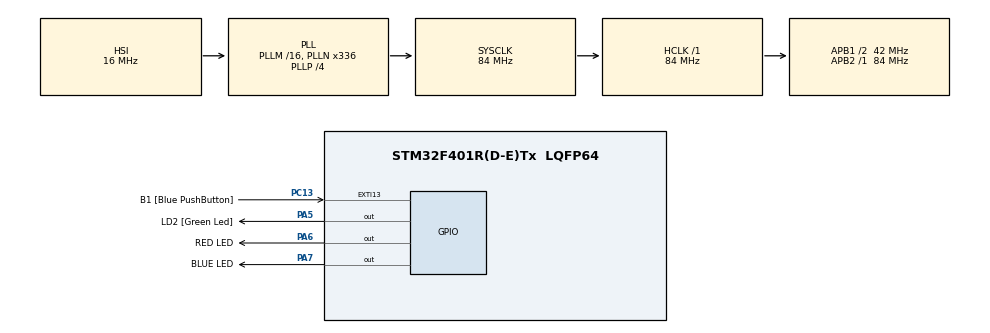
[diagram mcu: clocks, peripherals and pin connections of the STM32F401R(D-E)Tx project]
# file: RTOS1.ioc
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Mcu.Family=STM32F4
Mcu.Name=STM32F401R(D-E)Tx
Mcu.Package=LQFP64
NVIC.PriorityGroup=NVIC_PRIORITYGROUP_4
NVIC.TIM5_IRQn=true\:0\:0\:false\:false\:true\:false\:true\:true
NVIC.TimeBase=TIM5_IRQn
NVIC.TimeBaseIP=TIM5
PA13.GPIO_Label=TMS
PA13.Signal=SYS_JTMS-SWDIO
PA14.GPIO_Label=TCK
PA14.Signal=SYS_JTCK-SWCLK
PA2.GPIO_Label=USART_TX
PA2.GPIO_Mode=GPIO_MODE_AF_PP
PA2.GPIO_PuPd=GPIO_NOPULL
PA2.GPIO_Speed=GPIO_SPEED_FREQ_LOW
PA2.Signal=USART2_TX
PA3.GPIO_Label=USART_RX
PA3.GPIO_Mode=GPIO_MODE_AF_PP
PA3.GPIO_PuPd=GPIO_NOPULL
PA3.GPIO_Speed=GPIO_SPEED_FREQ_LOW
PA3.Signal=USART2_RX
PA5.GPIO_Label=LD2 [Green Led]
PA5.GPIO_Mode=GPIO_MODE_OUTPUT_PP
PA5.GPIO_PuPd=GPIO_NOPULL
PA5.GPIO_Speed=GPIO_SPEED_FREQ_LOW
PA5.Signal=GPIO_Output
PA6.GPIO_Label=RED LED
PA6.Signal=GPIO_Output
PA7.GPIO_Label=BLUE LED
PA7.Signal=GPIO_Output
PB3.GPIO_Label=SWO
PB3.Signal=SYS_JTDO-SWO
PC13-ANTI_TAMP.GPIO_Label=B1 [Blue PushButton]
PC13-ANTI_TAMP.GPIO_ModeDefaultEXTI=GPIO_MODE_IT_FALLING
PC13-ANTI_TAMP.GPIO_PuPd=GPIO_NOPULL
PC13-ANTI_TAMP.Signal=GPXTI13
PC14-OSC32_IN.Signal=RCC_OSC32_IN
PC15-OSC32_OUT.Signal=RCC_OSC32_OUT
PH0\ -\ OSC_IN.Signal=RCC_OSC_IN
PH1\ -\ OSC_OUT.Signal=RCC_OSC_OUT
ProjectManager.HeapSize=0x200
ProjectManager.StackSize=0x400
ProjectManager.TargetToolchain=STM32CubeIDE
RCC.AHBFreq_Value=84000000
RCC.APB1CLKDivider=RCC_HCLK_DIV2
RCC.APB1Freq_Value=42000000
RCC.APB1TimFreq_Value=84000000
RCC.APB2Freq_Value=84000000
RCC.APB2TimFreq_Value=84000000
RCC.CortexFreq_Value=84000000
RCC.HCLKFreq_Value=84000000
RCC.HSE_VALUE=8000000
RCC.HSI_VALUE=16000000
RCC.LSE_VALUE=32768
RCC.PLLN=336
RCC.PLLP=RCC_PLLP_DIV4
RCC.PLLQ=7
RCC.SYSCLKFreq_VALUE=84000000
RCC.SYSCLKSource=RCC_SYSCLKSOURCE_PLLCLK
RCC.VCOOutputFreq_Value=336000000
VP_SYS_VS_tim5.Mode=TIM5
board=NUCLEO-F401RE

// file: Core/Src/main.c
/* USER CODE BEGIN Header */
/**
  ******************************************************************************
  * @file           : main.c
  * @brief          : Main program body
  ******************************************************************************
  * @attention
  *
  * Copyright (c) 2026 STMicroelectronics.
  * All rights reserved.
  *
  * This software is licensed under terms that can be found in the LICENSE file
  * in the root directory of this software component.
  * If no LICENSE file comes with this software, it is provided AS-IS.
  *
  ******************************************************************************
  */
/* USER CODE END Header */
#include "main.h"
#include "gpio.h"

/* USER CODE BEGIN Includes */
#include "FreeRTOS.h"
#include "task.h"
/* USER CODE END Includes */

void SystemClock_Config(void);
/* USER CODE BEGIN PFP */
//static void task1_handler(void * pvParameters);
//static void task2_handler(void * pvParameters);

static void led_green_handler(void * pvParameters);
static void led_red_handler(void * pvParameters);
static void led_blue_handler(void * pvParameters);
/* USER CODE END PFP */

int main(void)
{

  /* USER CODE BEGIN 1 */
	TaskHandle_t task1_handle;
	TaskHandle_t task2_handle;
	TaskHandle_t task3_handle;
	BaseType_t xReturned;
  /* USER CODE END 1 */

  /* MCU Configuration--------------------------------------------------------*/

  /* Reset of all peripherals, Initializes the Flash interface and the Systick. */
  HAL_Init();

  /* Configure the system clock */
  SystemClock_Config();

  /* Initialize all configured peripherals */
  MX_GPIO_Init();
  /* USER CODE BEGIN 2 */

  xReturned = xTaskCreate(
		  	  	  	  led_green_handler,       /* Function that implements the task. */
                      "GREEN LED TASK",          /* Text name for the task. */
                      100,      /* Stack size in words, not bytes. */
                      NULL,    /* Parameter passed into the task. */
                      2,/* Priority at which the task is created. */
                      &task1_handle);      /* Used to pass out the created task's handle. */

  configASSERT(xReturned == pdPASS);

  xReturned = xTaskCreate(
  		  	  	  	  led_red_handler,       /* Function that implements the task. */
                        "RED LED TASK",          /* Text name for the task. */
                        100,      /* Stack size in words, not bytes. */
                        NULL,    /* Parameter passed into the task. */
                        2,/* Priority at which the task is created. */
                        &task2_handle);      /* Used to pass out the created task's handle. */

  configASSERT(xReturned == pdPASS);

  xReturned = xTaskCreate(
   		  	  	  	  led_blue_handler,       /* Function that implements the task. */
                         "BLUE LED TASK",          /* Text name for the task. */
                         100,      /* Stack size in words, not bytes. */
                         NULL,    /* Parameter passed into the task. */
                         2,/* Priority at which the task is created. */
                         &task3_handle);      /* Used to pass out the created task's handle. */

  configASSERT(xReturned == pdPASS);

  vTaskStartScheduler();

  /* USER CODE END 2 */

  /* Infinite loop */
  while (1)
  {

  }
}

void SystemClock_Config(void)
{
  RCC_OscInitTypeDef RCC_OscInitStruct = {0};
  RCC_ClkInitTypeDef RCC_ClkInitStruct = {0};

  /** Configure the main internal regulator output voltage
  */
  __HAL_RCC_PWR_CLK_ENABLE();
  __HAL_PWR_VOLTAGESCALING_CONFIG(PWR_REGULATOR_VOLTAGE_SCALE2);

  /** Initializes the RCC Oscillators according to the specified parameters
  * in the RCC_OscInitTypeDef structure.
  */
  RCC_OscInitStruct.OscillatorType = RCC_OSCILLATORTYPE_HSI;
  RCC_OscInitStruct.HSIState = RCC_HSI_ON;
  RCC_OscInitStruct.HSICalibrationValue = RCC_HSICALIBRATION_DEFAULT;
  RCC_OscInitStruct.PLL.PLLState = RCC_PLL_ON;
  RCC_OscInitStruct.PLL.PLLSource = RCC_PLLSOURCE_HSI;
  RCC_OscInitStruct.PLL.PLLM = 16;
  RCC_OscInitStruct.PLL.PLLN = 336;
  RCC_OscInitStruct.PLL.PLLP = RCC_PLLP_DIV4;
  RCC_OscInitStruct.PLL.PLLQ = 7;
  if (HAL_RCC_OscConfig(&RCC_OscInitStruct) != HAL_OK)
  {
    Error_Handler();
  }

  /** Initializes the CPU, AHB and APB buses clocks
  */
  RCC_ClkInitStruct.ClockType = RCC_CLOCKTYPE_HCLK|RCC_CLOCKTYPE_SYSCLK
                              |RCC_CLOCKTYPE_PCLK1|RCC_CLOCKTYPE_PCLK2;
  RCC_ClkInitStruct.SYSCLKSource = RCC_SYSCLKSOURCE_PLLCLK;
  RCC_ClkInitStruct.AHBCLKDivider = RCC_SYSCLK_DIV1;
  RCC_ClkInitStruct.APB1CLKDivider = RCC_HCLK_DIV2;
  RCC_ClkInitStruct.APB2CLKDivider = RCC_HCLK_DIV1;

  if (HAL_RCC_ClockConfig(&RCC_ClkInitStruct, FLASH_LATENCY_2) != HAL_OK)
  {
    Error_Handler();
  }
}

/* USER CODE BEGIN 4 */
static void led_green_handler(void* parameters)
{
	while(1)
	{
	printf("task1\n");
	HAL_GPIO_TogglePin(LD2_GPIO_Port, LD2_Pin);
	HAL_Delay(1000);
	taskYIELD();
	}
}

static void led_red_handler(void* parameters)
{
	while(1)
	{
	printf("task2\n");
	HAL_GPIO_TogglePin(RED_LED_GPIO_Port, RED_LED_Pin);
	HAL_Delay(1000);
	taskYIELD();
	}
}

static void led_blue_handler(void* parameters)
{
	while(1)
	{
	printf("task3\n");
	HAL_GPIO_TogglePin(BLUE_LED_GPIO_Port, BLUE_LED_Pin);
	HAL_Delay(1000);
	taskYIELD();
	}
}
/* USER CODE END 4 */

void HAL_TIM_PeriodElapsedCallback(TIM_HandleTypeDef *htim)
{
  if (htim->Instance == TIM5)
  {
    HAL_IncTick();
  }
}

void Error_Handler(void)
{
  __disable_irq();
  while (1)
  {
  }
}
